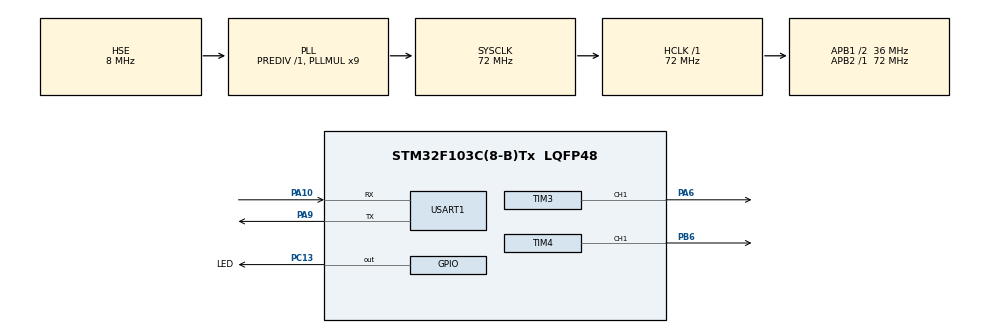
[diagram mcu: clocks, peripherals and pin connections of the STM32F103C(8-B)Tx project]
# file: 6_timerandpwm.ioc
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Mcu.Family=STM32F1
Mcu.Name=STM32F103C(8-B)Tx
Mcu.Package=LQFP48
NVIC.PriorityGroup=NVIC_PRIORITYGROUP_4
NVIC.TIM2_IRQn=true\:0\:0\:false\:false\:true\:true\:true\:true
NVIC.TIM3_IRQn=true\:0\:0\:false\:false\:true\:true\:true\:true
NVIC.TIM4_IRQn=true\:0\:0\:false\:false\:true\:true\:true\:true
PA10.Mode=Asynchronous
PA10.Signal=USART1_RX
PA13.Mode=Serial_Wire
PA13.Signal=SYS_JTMS-SWDIO
PA14.Mode=Serial_Wire
PA14.Signal=SYS_JTCK-SWCLK
PA6.Signal=S_TIM3_CH1
PA9.Mode=Asynchronous
PA9.Signal=USART1_TX
PB6.Signal=S_TIM4_CH1
PC13-TAMPER-RTC.GPIO_Label=LED
PC13-TAMPER-RTC.GPIO_Speed=GPIO_SPEED_FREQ_HIGH
PC13-TAMPER-RTC.PinState=GPIO_PIN_SET
PC13-TAMPER-RTC.Signal=GPIO_Output
PC14-OSC32_IN.Mode=LSE-External-Oscillator
PC14-OSC32_IN.Signal=RCC_OSC32_IN
PC15-OSC32_OUT.Mode=LSE-External-Oscillator
PC15-OSC32_OUT.Signal=RCC_OSC32_OUT
PD0-OSC_IN.Mode=HSE-External-Oscillator
PD0-OSC_IN.Signal=RCC_OSC_IN
PD1-OSC_OUT.Mode=HSE-External-Oscillator
PD1-OSC_OUT.Signal=RCC_OSC_OUT
ProjectManager.HeapSize=0x200
ProjectManager.StackSize=0x400
ProjectManager.TargetToolchain=MDK-ARM V5.32
RCC.AHBFreq_Value=72000000
RCC.APB1CLKDivider=RCC_HCLK_DIV2
RCC.APB1Freq_Value=36000000
RCC.APB1TimFreq_Value=72000000
RCC.APB2Freq_Value=72000000
RCC.APB2TimFreq_Value=72000000
RCC.HCLKFreq_Value=72000000
RCC.PLLMUL=RCC_PLL_MUL9
RCC.PLLSourceVirtual=RCC_PLLSOURCE_HSE
RCC.SYSCLKFreq_VALUE=72000000
RCC.SYSCLKSource=RCC_SYSCLKSOURCE_PLLCLK
RCC.USBFreq_Value=72000000
SH.S_TIM3_CH1.0=TIM3_CH1,PWM Generation1 CH1
SH.S_TIM4_CH1.0=TIM4_CH1,PWM Generation1 CH1
TIM2.Period=100-1
TIM2.Prescaler=7200-1
TIM3.AutoReloadPreload=TIM_AUTORELOAD_PRELOAD_DISABLE
TIM3.Channel-PWM\ Generation1\ CH1=TIM_CHANNEL_1
TIM3.Period=1000-1
TIM3.Prescaler=72-1
TIM4.Channel-PWM\ Generation1\ CH1=TIM_CHANNEL_1
TIM4.Period=1000-1
TIM4.Prescaler=72-1
USART1.VirtualMode=VM_ASYNC
VP_TIM2_VS_ClockSourceINT.Mode=Internal
VP_TIM3_VS_ClockSourceINT.Mode=Internal
VP_TIM4_VS_ClockSourceINT.Mode=Internal
board=custom

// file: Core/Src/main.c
/* USER CODE BEGIN Header */
/**
  ******************************************************************************
  * @file           : main.c
  * @brief          : Main program body
  ******************************************************************************
  * @attention
  *
  * Copyright (c) 2025 STMicroelectronics.
  * All rights reserved.
  *
  * This software is licensed under terms that can be found in the LICENSE file
  * in the root directory of this software component.
  * If no LICENSE file comes with this software, it is provided AS-IS.
  *
  ******************************************************************************
  */
/* USER CODE END Header */
#include "main.h"
#include "tim.h"
#include "usart.h"
#include "gpio.h"

/* USER CODE BEGIN Includes */
#include <string.h>
/* USER CODE END Includes */

/* USER CODE BEGIN PV */
char msgs[] = "Hello Windows!\r\n";
volatile uint8_t flag_2s = 0;
volatile uint8_t flag_5s = 0;

//呼吸灯状态
#define BREATH_MAX_STEP 200
volatile uint16_t breath_step = 0;      // 0~199，共200步
volatile uint8_t breath_dir = 1;        // 1=渐亮, 0=渐暗
/* USER CODE END PV */

void SystemClock_Config(void);

int main(void)
{

  /* MCU Configuration--------------------------------------------------------*/

  /* Reset of all peripherals, Initializes the Flash interface and the Systick. */
  HAL_Init();

  /* Configure the system clock */
  SystemClock_Config();

  /* Initialize all configured peripherals */
  MX_GPIO_Init();
  MX_TIM2_Init();
  MX_TIM3_Init();
  MX_USART1_UART_Init();
  MX_TIM4_Init();
  /* USER CODE BEGIN 2 */
  //开启定时中断
  HAL_TIM_Base_Start_IT(&htim2);//5s
  //HAL_TIM_Base_Start_IT(&htim3);//2s
  HAL_TIM_PWM_Start(&htim3, TIM_CHANNEL_1);
  HAL_TIM_PWM_Start(&htim4, TIM_CHANNEL_1);

  __HAL_TIM_SET_COMPARE(&htim3, TIM_CHANNEL_1, 0);
  __HAL_TIM_SET_COMPARE(&htim4, TIM_CHANNEL_1, 0);
  /* USER CODE END 2 */

  /* Infinite loop */
  while (1)
  {

    /* USER CODE BEGIN 3 */
    if(flag_2s == 1)
    {
      HAL_GPIO_TogglePin(GPIOC, GPIO_PIN_13);  // 翻转板载LED
      flag_2s = 0;
    }
    if(flag_5s == 1)
    {
      HAL_UART_Transmit(&huart1, (uint8_t*)msgs, strlen(msgs), 100);
      flag_5s = 0;
    }
  }
  /* USER CODE END 3 */
}

void SystemClock_Config(void)
{
  RCC_OscInitTypeDef RCC_OscInitStruct = {0};
  RCC_ClkInitTypeDef RCC_ClkInitStruct = {0};

  /** Initializes the RCC Oscillators according to the specified parameters
  * in the RCC_OscInitTypeDef structure.
  */
  RCC_OscInitStruct.OscillatorType = RCC_OSCILLATORTYPE_HSE;
  RCC_OscInitStruct.HSEState = RCC_HSE_ON;
  RCC_OscInitStruct.HSEPredivValue = RCC_HSE_PREDIV_DIV1;
  RCC_OscInitStruct.HSIState = RCC_HSI_ON;
  RCC_OscInitStruct.PLL.PLLState = RCC_PLL_ON;
  RCC_OscInitStruct.PLL.PLLSource = RCC_PLLSOURCE_HSE;
  RCC_OscInitStruct.PLL.PLLMUL = RCC_PLL_MUL9;
  if (HAL_RCC_OscConfig(&RCC_OscInitStruct) != HAL_OK)
  {
    Error_Handler();
  }

  /** Initializes the CPU, AHB and APB buses clocks
  */
  RCC_ClkInitStruct.ClockType = RCC_CLOCKTYPE_HCLK|RCC_CLOCKTYPE_SYSCLK
                              |RCC_CLOCKTYPE_PCLK1|RCC_CLOCKTYPE_PCLK2;
  RCC_ClkInitStruct.SYSCLKSource = RCC_SYSCLKSOURCE_PLLCLK;
  RCC_ClkInitStruct.AHBCLKDivider = RCC_SYSCLK_DIV1;
  RCC_ClkInitStruct.APB1CLKDivider = RCC_HCLK_DIV2;
  RCC_ClkInitStruct.APB2CLKDivider = RCC_HCLK_DIV1;

  if (HAL_RCC_ClockConfig(&RCC_ClkInitStruct, FLASH_LATENCY_2) != HAL_OK)
  {
    Error_Handler();
  }
}

/* USER CODE BEGIN 4 */
//定时中断回调函数
void HAL_TIM_PeriodElapsedCallback(TIM_HandleTypeDef *htim)
{
  // //5s定时中断
  // if (htim->Instance == TIM2)
  // {
  //   flag_5s = 1;
  // }
  // //2s定时中断
  // else if (htim->Instance == TIM3)
  // {
  //   flag_2s = 1;
  // }
  if(htim->Instance == TIM2)
  {
    //更新呼吸步进
    if (breath_dir) {
      breath_step++;
      if (breath_step >= BREATH_MAX_STEP - 1)
      {
        breath_dir = 0;
      }
    }
    else {
      breath_step--;
      if (breath_step == 0) {
          breath_dir = 1;
      }
    }

    // 计算当前占空比（0 ~ 999）
    uint16_t duty = (uint16_t)((breath_step * 999U) / (BREATH_MAX_STEP - 1));

    // 同时更新 TIM3 和 TIM4 的比较寄存器
    __HAL_TIM_SET_COMPARE(&htim3, TIM_CHANNEL_1, duty);
    __HAL_TIM_SET_COMPARE(&htim4, TIM_CHANNEL_1, duty);
  }
}
/* USER CODE END 4 */

void Error_Handler(void)
{
  __disable_irq();
  while (1)
  {
  }
}
